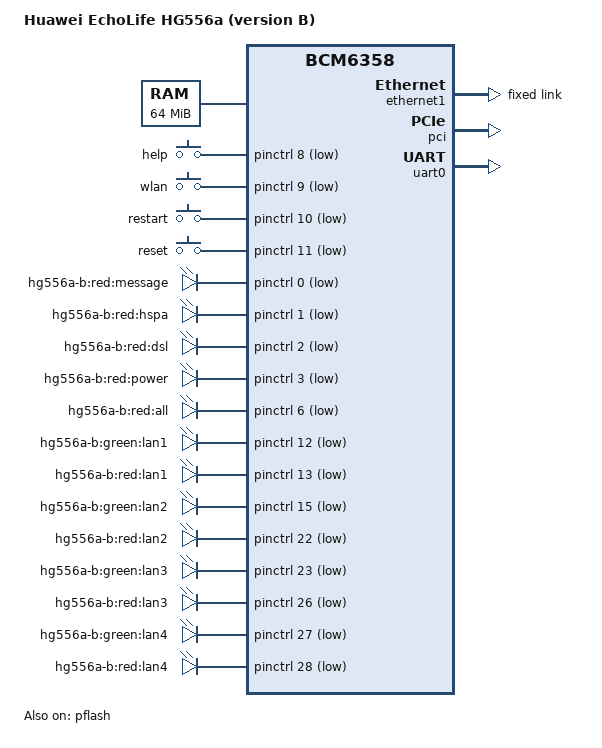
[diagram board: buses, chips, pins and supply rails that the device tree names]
// SPDX-License-Identifier: GPL-2.0-or-later

/dts-v1/;

#include "bcm6358.dtsi"

/ {
	compatible = "huawei,hg556a-b", "brcm,bcm6358";
	model = "Huawei EchoLife HG556a (version B)";

	aliases {
		led-boot = &power_red;
		led-dsl = &dsl_red;
		led-failsafe = &power_red;
		led-internet = &dsl_red;
		led-running = &power_red;
		led-upgrade = &power_red;
		led-usb = &hspa_red;
	};

	chosen {
		bootargs = "console=ttyS0,115200 earlycon";
	};

	ath9k-fixup {
		compatible = "brcm,ath9k-fixup";
		reg = <0x30000000 0x8000000>;

		pci-dev = <1>;

		mtd-mac-address = <&cfe 0x6a0>;
		mtd-mac-address-increment = <1>;

		ath,eeprom = <&cal_data 0x1e000>;
		ath,endian-check;
		ath,led-pin = <2>;
		ath,led-active-high;
	};

	memory@0 {
		device_type = "memory";
		reg = <0x00000000 0x04000000>;
	};

	keys {
		compatible = "gpio-keys-polled";
		#address-cells = <1>;
		#size-cells = <0>;
		poll-interval = <20>;

		help {
			label = "help";
			gpios = <&pinctrl 8 1>;
			linux,code = <KEY_HELP>;
			debounce-interval = <60>;
		};

		wlan {
			label = "wlan";
			gpios = <&pinctrl 9 1>;
			linux,code = <KEY_WLAN>;
			debounce-interval = <60>;
		};

		restart {
			label = "restart";
			gpios = <&pinctrl 10 1>;
			linux,code = <KEY_RESTART>;
			debounce-interval = <60>;
		};

		reset {
			label = "reset";
			gpios = <&pinctrl 11 1>;
			linux,code = <KEY_CONFIG>;
			debounce-interval = <60>;
		};
	};

	leds {
		compatible = "gpio-leds";

		message_red: led@0 {
			label = "hg556a-b:red:message";
			gpios = <&pinctrl 0 1>;
		};

		hspa_red: led@1 {
			label = "hg556a-b:red:hspa";
			gpios = <&pinctrl 1 1>;
		};

		dsl_red: led@2 {
			label = "hg556a-b:red:dsl";
			gpios = <&pinctrl 2 1>;
		};

		power_red: led@3 {
			label = "hg556a-b:red:power";
			gpios = <&pinctrl 3 1>;
			default-state = "on";
		};

		all_red: led@6 {
			label = "hg556a-b:red:all";
			gpios = <&pinctrl 6 1>;
			default-state = "on";
		};

		lan1_green: led@12 {
			label = "hg556a-b:green:lan1";
			gpios = <&pinctrl 12 1>;
		};

		lan1_red: led@13 {
			label = "hg556a-b:red:lan1";
			gpios = <&pinctrl 13 1>;
		};

		lan2_green: led@15 {
			label = "hg556a-b:green:lan2";
			gpios = <&pinctrl 15 1>;
		};

		lan2_red: led@22 {
			label = "hg556a-b:red:lan2";
			gpios = <&pinctrl 22 1>;
		};

		lan3_green: led@23 {
			label = "hg556a-b:green:lan3";
			gpios = <&pinctrl 23 1>;
		};

		lan3_red: led@26 {
			label = "hg556a-b:red:lan3";
			gpios = <&pinctrl 26 1>;
		};

		lan4_green: led@27 {
			label = "hg556a-b:green:lan4";
			gpios = <&pinctrl 27 1>;
		};

		lan4_red: led@28 {
			label = "hg556a-b:red:lan4";
			gpios = <&pinctrl 28 1>;
		};
	};
};

/*
&ehci {
	status = "ok";
};
*/

&ethernet1 {
	status = "ok";

	mtd-mac-address = <&cfe 0x6a0>;

	brcm,phy_id = <0>;

	fixed-link {
		full-duplex;
		speed = <100>;
	};
};

/*
&ohci {
	status = "ok";
};
*/

&pci {
	status = "ok";
};

&pflash {
	status = "ok";

	partitions {
		compatible = "fixed-partitions";
		#address-cells = <1>;
		#size-cells = <1>;

		cfe: partition@0 {
			label = "cfe";
			reg = <0x000000 0x020000>;
			read-only;
		};

		partition@20000 {
			label = "firmware";
			reg = <0x020000 0xec0000>;
			compatible = "brcm,bcm963xx-imagetag";
		};

		cal_data: partition@ee0000 {
			label = "cal_data";
			reg = <0xee0000 0x100000>;
			read-only;
		};

		partition@fe0000 {
			label = "nvram";
			reg = <0xfe0000 0x020000>;
		};
	};
};

&uart0 {
	status = "ok";
};

/*
&usbh {
	status = "ok";
};
*/
